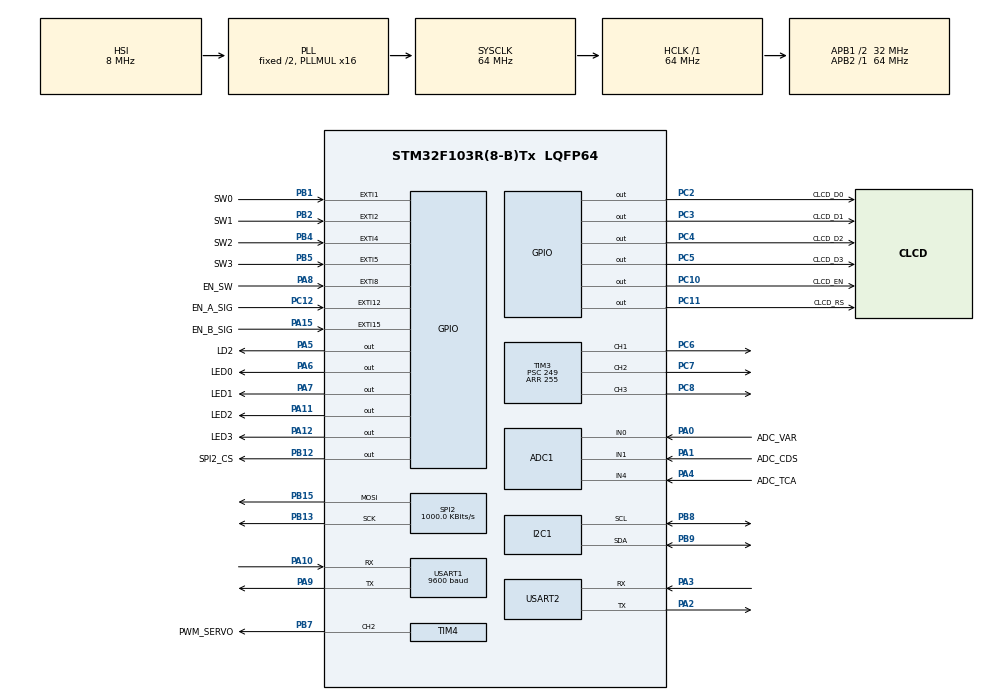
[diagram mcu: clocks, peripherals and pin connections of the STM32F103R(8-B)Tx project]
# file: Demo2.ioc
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Mcu.Family=STM32F1
SPI2.VirtualType=VM_MASTER
ADC1.ContinuousConvMode=ENABLE
PB4.GPIO_ModeDefaultEXTI=GPIO_MODE_IT_RISING_FALLING
USART1.BaudRate=9600
PC10.Signal=GPIO_Output
PC12.Signal=GPXTI12
PA6.GPIO_Label=LED0
PB13.Signal=SPI2_SCK
PB15.Signal=SPI2_MOSI
RCC.SYSCLKSource=RCC_SYSCLKSOURCE_PLLCLK
ProjectManager.StackSize=0x400
PB2.GPIO_ModeDefaultEXTI=GPIO_MODE_IT_RISING_FALLING
PA15.GPIO_Label=EN_B_SIG
NVIC.EXTI1_IRQn=true\:0\:0\:false\:false\:true\:true\:true
PA12.Signal=GPIO_Output
ADC1.Channel-3\#ChannelRegularConversion=ADC_CHANNEL_4
RCC.HCLKFreq_Value=64000000
RCC.APB2TimFreq_Value=64000000
TIM3.Period=255
PB1.GPIO_ModeDefaultEXTI=GPIO_MODE_IT_RISING_FALLING
Dma.ADC1.0.Direction=DMA_PERIPH_TO_MEMORY
ADC1.Channel-2\#ChannelRegularConversion=ADC_CHANNEL_1
PC7.Signal=S_TIM3_CH2
PC3.Signal=GPIO_Output
Dma.ADC1.0.MemDataAlignment=DMA_MDATAALIGN_HALFWORD
RCC.AHBFreq_Value=64000000
SPI2.BaudRatePrescaler=SPI_BAUDRATEPRESCALER_32
TIM3.Channel-PWM\ Generation1\ CH1=TIM_CHANNEL_1
NVIC.EXTI15_10_IRQn=true\:0\:0\:false\:false\:true\:true\:true
PB2.Signal=GPXTI2
RCC.PLLMUL=RCC_PLL_MUL16
PB12.GPIO_Label=SPI2_CS
ADC1.Rank-2\#ChannelRegularConversion=2
PC4.GPIO_Label=CLCD_D2
PA14.Mode=Serial_Wire
TIM3.Prescaler=249
PB1.GPIO_Label=SW0
Dma.ADC1.0.PeriphInc=DMA_PINC_DISABLE
PC11.GPIO_Label=CLCD_RS
NVIC.TIM2_IRQn=true\:0\:0\:false\:false\:true\:true\:true
SPI2.CalculateBaudRate=1000.0 KBits/s
SH.S_TIM4_CH2.0=TIM4_CH2,PWM Generation2 CH2
PB7.Signal=S_TIM4_CH2
PA8.Signal=GPXTI8
SH.ADCx_IN0.0=ADC1_IN0,IN0
SH.S_TIM3_CH1.0=TIM3_CH1,PWM Generation1 CH1
TIM4.Period=19999
PB7.GPIO_Label=PWM_SERVO
Mcu.Package=LQFP64
PB9.Signal=I2C1_SDA
TIM2.Prescaler=63
PB1.Signal=GPXTI1
PA6.Signal=GPIO_Output
SPI2.Mode=SPI_MODE_MASTER
PA8.GPIO_ModeDefaultEXTI=GPIO_MODE_IT_FALLING
USART2.VirtualMode=VM_ASYNC
PA10.Signal=USART1_RX
PA15.Signal=GPXTI15
SPI2.CLKPhase=SPI_PHASE_2EDGE
SH.ADCx_IN1.0=ADC1_IN1,IN1
PB5.GPIO_Label=SW3
NVIC.EXTI2_IRQn=true\:0\:0\:false\:false\:true\:true\:true
RCC.APB1TimFreq_Value=64000000
SPI2.Direction=SPI_DIRECTION_2LINES
PC5.Signal=GPIO_Output
PB13.Mode=TX_Only_Simplex_Unidirect_Master
NVIC.USART1_IRQn=true\:0\:0\:false\:false\:true\:true\:false
Dma.Request0=ADC1
PA4.GPIO_Label=ADC_TCA
PC2.GPIO_Label=CLCD_D0
TIM4.Pulse-PWM\ Generation2\ CH2=1500
VP_TIM3_VS_ClockSourceINT.Mode=Internal
PB4.Signal=GPXTI4
PA3.Signal=USART2_RX
PB5.GPIO_ModeDefaultEXTI=GPIO_MODE_IT_RISING_FALLING
NVIC.EXTI4_IRQn=true\:0\:0\:false\:false\:true\:true\:true
Dma.ADC1.0.Instance=DMA1_Channel1
PA10.Mode=Asynchronous
PC10.GPIO_Label=CLCD_EN
TIM3.AutoReloadPreload=TIM_AUTORELOAD_PRELOAD_DISABLE
PC11.Signal=GPIO_Output
PC8.Signal=S_TIM3_CH3
PC2.Signal=GPIO_Output
PC4.Signal=GPIO_Output
PC6.Signal=S_TIM3_CH1
PA11.GPIO_Label=LED2
RCC.APB1CLKDivider=RCC_HCLK_DIV2
SH.S_TIM3_CH3.0=TIM3_CH3,PWM Generation3 CH3
PA12.GPIO_Label=LED3
ADC1.SamplingTime-2\#ChannelRegularConversion=ADC_SAMPLETIME_239CYCLES_5
PA0-WKUP.GPIO_Label=ADC_VAR
PA0-WKUP.Signal=ADCx_IN0
RCC.ADCPresc=RCC_ADCPCLK2_DIV8
PA3.Mode=Asynchronous
PA13.Signal=SYS_JTMS-SWDIO
TIM3.Channel-PWM\ Generation3\ CH3=TIM_CHANNEL_3
Dma.ADC1.0.PeriphDataAlignment=DMA_PDATAALIGN_HALFWORD
PA9.Mode=Asynchronous
PA8.GPIO_Label=EN_SW
ProjectManager.TargetToolchain=STM32CubeIDE
Dma.ADC1.0.Mode=DMA_CIRCULAR
I2C1.I2C_Mode=I2C_Fast
PB9.Mode=I2C
Dma.ADC1.0.Priority=DMA_PRIORITY_LOW
PA9.Signal=USART1_TX
ADC1.Channel-1\#ChannelRegularConversion=ADC_CHANNEL_0
RCC.USBFreq_Value=64000000
TIM4.Prescaler=63
PA1.Signal=ADCx_IN1
PA5.Signal=GPIO_Output
SH.S_TIM3_CH2.0=TIM3_CH2,PWM Generation2 CH2
board=custom
PB15.Mode=TX_Only_Simplex_Unidirect_Master
TIM4.Channel-PWM\ Generation2\ CH2=TIM_CHANNEL_2
RCC.APB2Freq_Value=64000000
PB4.GPIO_Label=SW2
VP_TIM2_VS_ClockSourceINT.Mode=Internal
PA1.GPIO_Label=ADC_CDS
SH.ADCx_IN4.0=ADC1_IN4,IN4
TIM2.Period=49999
ADC1.NbrOfConversion=3
PA13.Mode=Serial_Wire
Mcu.Name=STM32F103R(8-B)Tx
PA2.Signal=USART2_TX
TIM4.OCPolarity_2=TIM_OCPOLARITY_LOW
PA4.Signal=ADCx_IN4
ADC1.SamplingTime-1\#ChannelRegularConversion=ADC_SAMPLETIME_239CYCLES_5
RCC.SYSCLKFreq_VALUE=64000000
PB5.Signal=GPXTI5
PA7.GPIO_Label=LED1
ADC1.master=1
PA5.GPIO_Label=LD2
ADC1.Rank-3\#ChannelRegularConversion=3
ADC1.SamplingTime-3\#ChannelRegularConversion=ADC_SAMPLETIME_239CYCLES_5
PC5.GPIO_Label=CLCD_D3
PC12.GPIO_Label=EN_A_SIG
USART1.VirtualMode=VM_ASYNC
ADC1.Rank-1\#ChannelRegularConversion=1
PA11.Signal=GPIO_Output
NVIC.EXTI9_5_IRQn=true\:0\:0\:false\:false\:true\:true\:true
PA14.Signal=SYS_JTCK-SWCLK
Dma.ADC1.0.MemInc=DMA_MINC_ENABLE
PB2.GPIO_Label=SW1
ProjectManager.HeapSize=0x200
VP_TIM4_VS_ClockSourceINT.Mode=Internal
NVIC.PriorityGroup=NVIC_PRIORITYGROUP_4
ADC1.NbrOfConversionFlag=1
TIM3.Channel-PWM\ Generation2\ CH2=TIM_CHANNEL_2
PB8.Mode=I2C
PA2.Mode=Asynchronous
PB8.Signal=I2C1_SCL
TIM2.AutoReloadPreload=TIM_AUTORELOAD_PRELOAD_ENABLE
PC3.GPIO_Label=CLCD_D1
NVIC.DMA1_Channel1_IRQn=true\:0\:0\:false\:false\:true\:false\:true
RCC.APB1Freq_Value=32000000
PB12.Signal=GPIO_Output
PA7.Signal=GPIO_Output

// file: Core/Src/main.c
/* USER CODE BEGIN Header */
/**
  ******************************************************************************
  * @file           : main.c
  * @brief          : Main program body
  ******************************************************************************
  * @attention
  *
  * <h2><center>&copy; Copyright (c) 2020 STMicroelectronics.
  * All rights reserved.</center></h2>
  *
  * This software component is licensed by ST under BSD 3-Clause license,
  * the "License"; You may not use this file except in compliance with the
  * License. You may obtain a copy of the License at:
  *                        opensource.org/licenses/BSD-3-Clause
  *
  ******************************************************************************
  */
/* USER CODE END Header */

#include "main.h"

/* USER CODE BEGIN Includes */
#include <stdio.h>  // for using printf()
#include <string.h> // for using memset(), strlen(), strcmp, strtok()
#include "hdc1080\hdc1080.h"  // for using hdc1080 through I2C
#include "clcd\clcd.h"  // for using clcd library
#include "ringbuffer\rb.h"  // for using ring buffer
/* USER CODE END Includes */

/* USER CODE BEGIN PD */
// Demo2 protocol command define
#define STX       0x02
#define ETX       0x03

#define VAR         'V'
#define CDS         'P'
#define TC1047     'T'
#define ENCODER     'E'
#define SERVO       'S'
#define HDC1080     'I'
#define DAC         'D'
#define LED         'L'
#define RGBLED      'M'
#define TACTSWITCH  'R'
#define CLCD_L1     '1'
#define CLCD_L2     '2'

#define CMD_READ  0x52
#define CMD_WRITE 0x57

// receive packet wait time
#define TIMEOUT  1000
/* USER CODE END PD */

ADC_HandleTypeDef hadc1;
DMA_HandleTypeDef hdma_adc1;

I2C_HandleTypeDef hi2c1;

SPI_HandleTypeDef hspi2;

TIM_HandleTypeDef htim2;
TIM_HandleTypeDef htim3;
TIM_HandleTypeDef htim4;

UART_HandleTypeDef huart1;
UART_HandleTypeDef huart2;

/* USER CODE BEGIN PV */
RingFifo_t gUart1Fifo;
volatile int gEnCoderCnt;
volatile uint16_t gADCxConvertedValue[3];
volatile uint8_t gRGBPulse[3];
int gTimerFlag;
/* USER CODE END PV */

void SystemClock_Config(void);
static void MX_GPIO_Init(void);
static void MX_DMA_Init(void);
static void MX_ADC1_Init(void);
static void MX_I2C1_Init(void);
static void MX_SPI2_Init(void);
static void MX_TIM3_Init(void);
static void MX_TIM4_Init(void);
static void MX_USART2_UART_Init(void);
static void MX_USART1_UART_Init(void);
static void MX_TIM2_Init(void);

/* USER CODE BEGIN 0 */
/* Porting to UART2 for serial debugging */
#ifdef __GNUC__
/* With GCC, small printf (option LD Linker->Libraries->Small printf
   set to 'Yes') calls __io_putchar() */
#define PUTCHAR_PROTOTYPE int __io_putchar(int ch)
#else
#define PUTCHAR_PROTOTYPE int fputc(int ch, FILE *f)
#endif /* __GNUC__ */

/**
  * @brief  Retargets the C library printf function to the USART.
  * @param  None
  * @retval None
  */
PUTCHAR_PROTOTYPE
{
  /* Place your implementation of fputc here */
  /* e.g. write a character to the USART1 and Loop until the end of transmission */
  if (ch == '\n')
    HAL_UART_Transmit (&huart2, (uint8_t*) "\r", 1, 0xFFFF);
  HAL_UART_Transmit (&huart2, (uint8_t*) &ch, 1, 0xFFFF);

  return ch;
}

/**
 * @brief   DAC7512 Write through SPI
 * @param   data   unsigned short data for send through SPI
 * @retval  0 is success to send the data, 1 is fail
 */
uint8_t
DAC7512_write (unsigned short data)
{
  uint8_t buff[2], ret;

  HAL_GPIO_WritePin (SPI2_CS_GPIO_Port, SPI2_CS_Pin, GPIO_PIN_RESET);

  buff[0] = (uint8_t) (data >> 8);
  buff[1] = (uint8_t) data;

  ret = HAL_SPI_Transmit (&hspi2, buff, 2, 1000);

  if (ret)
    return ret;

  HAL_GPIO_WritePin (SPI2_CS_GPIO_Port, SPI2_CS_Pin, GPIO_PIN_SET);

  return 0;
}

/**
 * @brief   Block until Ring buffer received packet or timeout occurs
 * @param   timeout   timeout[ms]
 * @retval  0 is Ring buffer received packet, 1 is timeout occurs
 */
int
WaitPacket (int timeout)
{
  if (!RB_isempty (&gUart1Fifo))
    return 0;
  else
    {
      int cnt = 0;
      while (cnt != timeout)
        {
          if (!RB_isempty (&gUart1Fifo))
            break;
          cnt++;
          HAL_Delay (1);
        }

      if (cnt != timeout)
        return 0;
      else
        return 1;
    }
}

/**
 * @brief   Send AT Command to HM-10
 * @param   command   AT Command.
 * @param   buf       Buffer to store HM-10's reply message.
 * @param   bufsize   Buffer size.
 * @param   timeout   UART Transmit and Receive timeout.
 * @retval  0 is success, else is HAL_Status error in UART.
 */
int
SendATCommand (const char *command, char *buf, int bufsize, int timeout)
{
  int ret;

  memset ((void*) buf, 0, bufsize);

  ret = HAL_UART_Transmit (&huart1, (uint8_t*) command, strlen (command), timeout);
  if (ret != HAL_OK)
    return ret;

  ret = HAL_UART_Receive (&huart1, (uint8_t*) buf, bufsize, timeout);
  if (ret != HAL_OK)
    return ret;

  return 0;
}

/**
 * @brief   Initialize HM-10
 * @param   None
 * @retval  None
 */
void
InitHM10 (void)
{
  char rcvBuf[32] =
    { 0 };
  char *ptr;
  int cnt = 0;

  printf ("Initialize HM-10\n");

  __HAL_UART_DISABLE_IT(&huart1, UART_IT_RXNE); // Disable UART1 Interrupt

  printf ("HM-10 Connecting. .");
  fflush(stdout);
  while (cnt++ < 10)
    {
      // Check whether AT commands can be used. If it can use, receive message "OK"
      SendATCommand ("AT", rcvBuf, sizeof(rcvBuf), 500);

      if (!strcmp (rcvBuf, "OK"))
        {
          printf ("\nHM-10-> %s\n", rcvBuf);
          printf ("HM-10 can use AT Command!\n\n");
          break;
        }
      printf (" .");
      fflush(stdout);

      HAL_Delay (1000);
    }

  if (cnt >= 10)
    {
      printf ("HM-10 connecting fail!\n");
      return;
    }

  SendATCommand ("AT+NAME?", rcvBuf, sizeof(rcvBuf), 100);

  // if Name is not NUCLEOEVB, Restore all setup value to factory setup and rename to NUCLEOEVB
  if (strcmp (rcvBuf, "OK+NAME:NUCLEOEVB"))
    {
      printf ("Restore all setup and rename to \"NUCLEOEVB\".\n");

      /*  default setting
       *  Name: HMSoft
       *  Baud: 9600, N, 8, 1
       *  Pin code: 000000
       *  Peripheral(Slave) Role
       *  Transmit mode(Can configure parameters until module is connected)
       */
      SendATCommand ("AT+RENEW", rcvBuf, sizeof(rcvBuf), 1000);
      printf ("AT Renew: %s\n", rcvBuf);
      HAL_Delay(1000);

      // set Name NUCLEOEVB
      SendATCommand ("AT+NAMENUCLEOEVB", rcvBuf, sizeof(rcvBuf), 100);

      // HM-10's SW reset to apply the changed settings
      SendATCommand ("AT+RESET", rcvBuf, sizeof(rcvBuf), 500);
      printf ("AT Reset: %s\n", rcvBuf);
      HAL_Delay(1000);
    }

  printf ("Show HM-10 settings\n");

  // get addr
  SendATCommand ("AT+ADDR?", rcvBuf, sizeof(rcvBuf), 100);
  ptr = strtok (rcvBuf, ":");
  ptr = strtok (NULL, ":");
  printf (" Addr: %s\n", ptr);

  // get name
  SendATCommand ("AT+NAME?", rcvBuf, sizeof(rcvBuf), 100);
  ptr = strtok (rcvBuf, ":");
  ptr = strtok (NULL, ":");
  printf (" Name: %s\n", ptr);

  // get pass(pin code)
  SendATCommand ("AT+PASS?", rcvBuf, sizeof(rcvBuf), 100);
  ptr = strtok (rcvBuf, ":");
  ptr = strtok (NULL, ":");
  printf (" PW(pin): %s\n", ptr);

  // get type(type0: Not need PIN Code)
  SendATCommand ("AT+TYPE?", rcvBuf, sizeof(rcvBuf), 100);
  ptr = strtok (rcvBuf, ":");
  ptr = strtok (NULL, ":");
  printf (" Type: %s\n", ptr);

  __HAL_UART_ENABLE_IT(&huart1, UART_IT_RXNE);  // Enable UART1 Interrupt
}
/* USER CODE END 0 */

int main(void)
{
  /* USER CODE BEGIN 1 */
  uint8_t bat_stat;
  uint16_t I2C_id;
  /* USER CODE END 1 */

  /* MCU Configuration--------------------------------------------------------*/

  /* Reset of all peripherals, Initializes the Flash interface and the Systick. */
  HAL_Init();

  /* Configure the system clock */
  SystemClock_Config();

  /* Initialize all configured peripherals */
  MX_GPIO_Init();
  MX_DMA_Init();
  MX_ADC1_Init();
  MX_I2C1_Init();
  MX_SPI2_Init();
  MX_TIM3_Init();
  MX_TIM4_Init();
  MX_USART2_UART_Init();
  MX_USART1_UART_Init();
  MX_TIM2_Init();
  /* USER CODE BEGIN 2 */
  printf("Application Demo2\n\n");

  /* Start ADC Calibration */
  if (HAL_ADCEx_Calibration_Start (&hadc1) != HAL_OK)
    {
      Error_Handler ();
    }
  printf ("ADC Calibration Done!\n");

  /* Start ADC in DMA mode,
   *
   * ADC Rank1 - VAR,
   *     Rank2 - CDS,
   *     Rank3 - TC1047
   */
  if (HAL_ADC_Start_DMA (&hadc1, (uint32_t*) &gADCxConvertedValue, 3) != HAL_OK)
    {
      Error_Handler ();
    }
  printf ("Start ADC in DMA Mode\n");

  /* Init HDC1080 */
  // HDC1080 id read to I2C
  HAL_Delay(50);
  hdc1080_read_reg (&hi2c1, HDC1080_ID_DEV, &I2C_id);
  hdc1080_init (&hi2c1, HDC1080_T_RES_14, HDC1080_RH_RES_14, 1, &bat_stat);
  printf ("I2C Initialization Done!");
  printf ("HDC1080's ID = %X\n", I2C_id);

  /* TIM4 PWM start for Servo */
  HAL_TIM_PWM_Start (&htim4, TIM_CHANNEL_2);

  /* TIM3 PWM start for RGB LED */
  HAL_TIM_PWM_Start (&htim3, TIM_CHANNEL_1);
  HAL_TIM_PWM_Start (&htim3, TIM_CHANNEL_2);
  HAL_TIM_PWM_Start (&htim3, TIM_CHANNEL_3);
  printf ("Start PWM for Servo & RGB LED\n");

  /* Init LCD */
  CLCD_Init (16, 2);
  printf ("CLCD Initialization Done!\n");

  /* Init RingBuffer */
  if (RB_init (&gUart1Fifo, 64))
    {
      Error_Handler ();
    }

  /* Init Bluetooth(HM-10) */
  InitHM10 ();

  /* Start TIM2 Interrupt (50msec) */
  HAL_TIM_Base_Start_IT (&htim2);

  printf ("\nMain program start!\n");
  /* USER CODE END 2 */

  /* Infinite loop */
  /* USER CODE BEGIN WHILE */
  int send_idx = 0, read_idx = 0;
  int i, rb_flag = 0;
  uint8_t ch;
  uint8_t hdc_humi;
  int led_value, switch_value;
  float hdc_temp;
  char rcvbuf[21] = { 0 };
  char clcd[17] = { 0 };

  while (1)
  {
      /***********************************************************************************************/
      /************************************* Data Acquisition ****************************************/
      /***********************************************************************************************/
      hdc1080_measure (&hi2c1, &hdc_temp, &hdc_humi);
      led_value = (HAL_GPIO_ReadPin (LED0_GPIO_Port, LED0_Pin) << 24) | (HAL_GPIO_ReadPin (LED1_GPIO_Port, LED1_Pin) << 16)
          | (HAL_GPIO_ReadPin (LED2_GPIO_Port, LED2_Pin) << 8) | HAL_GPIO_ReadPin (LED3_GPIO_Port, LED3_Pin);

      switch_value = ((!HAL_GPIO_ReadPin (SW0_GPIO_Port, SW0_Pin)) << 24) | ((!HAL_GPIO_ReadPin (SW1_GPIO_Port, SW1_Pin)) << 16)
          | ((!HAL_GPIO_ReadPin (SW2_GPIO_Port, SW2_Pin)) << 8) | (!HAL_GPIO_ReadPin (SW3_GPIO_Port, SW3_Pin));

      /***********************************************************************************************/
      /*********************************** Data Send Routine *****************************************/
      /***********************************************************************************************/
#if 1
      // Check timer flag
      if (gTimerFlag == 1)
        {
          gTimerFlag = 0;

          uint8_t sendBuf[10] = { 0 };
          int index = 0;

          // send packet
          switch (send_idx)
            {
            case 0: // VAR data packet
              send_idx++;
              uint16_t var_val = gADCxConvertedValue[0];

              sendBuf[index++] = STX;
              sendBuf[index++] = CMD_READ;
              sendBuf[index++] = VAR;
              sendBuf[index++] = 2;
              sendBuf[index++] = var_val;
              sendBuf[index++] = var_val >> 8;
              sendBuf[index++] = ETX;

              HAL_UART_Transmit (&huart1, sendBuf, index, 50);
              //printf ("Sequence%d - VAR: %d\n", send_idx, var_val);
              break;

            case 1: // CDS data packet
              send_idx++;
              uint16_t cds_val = gADCxConvertedValue[1];

              sendBuf[index++] = STX;
              sendBuf[index++] = CMD_READ;
              sendBuf[index++] = CDS;
              sendBuf[index++] = 2;
              sendBuf[index++] = cds_val;
              sendBuf[index++] = cds_val >> 8;
              sendBuf[index++] = ETX;

              HAL_UART_Transmit (&huart1, sendBuf, index, 50);
              //printf ("Sequence%d - CDS: %d\n", send_idx, cds_val);
              break;

            case 2: // TC1047 data packet
              send_idx++;
              float tc_temp = (float) (((gADCxConvertedValue[2] * 3.3 / 4096 * 1000) - 500) / 10);
              uint32_t temp = *(uint32_t*) &tc_temp;

              sendBuf[index++] = STX;
              sendBuf[index++] = CMD_READ;
              sendBuf[index++] = TC1047;
              sendBuf[index++] = 4;
              sendBuf[index++] = temp;
              sendBuf[index++] = temp >> 8;
              sendBuf[index++] = temp >> 16;
              sendBuf[index++] = temp >> 24;
              sendBuf[index++] = ETX;

              HAL_UART_Transmit (&huart1, sendBuf, index, 50);
              //printf ("Sequence%d - TC1047: %.2f\n", send_idx, *(float *)&temp);
              break;

            case 3: // Encoder data packet
              send_idx++;
              int encoder_temp = gEnCoderCnt;

              sendBuf[index++] = STX;
              sendBuf[index++] = CMD_READ;
              sendBuf[index++] = ENCODER;
              sendBuf[index++] = 4;
              sendBuf[index++] = encoder_temp;
              sendBuf[index++] = encoder_temp >> 8;
              sendBuf[index++] = encoder_temp >> 16;
              sendBuf[index++] = encoder_temp >> 24;
              sendBuf[index++] = ETX;

              HAL_UART_Transmit (&huart1, sendBuf, index, 50);
              //printf ("Sequence%d - Encoder: %4d\n", send_idx, encoder_temp);
              break;

            case 4: // HDC1080 data packet
              send_idx++;
              uint32_t _hdc_temp = *(uint32_t*) &hdc_temp;
              uint8_t _hdc_humi = hdc_humi;

              sendBuf[index++] = STX;
              sendBuf[index++] = CMD_READ;
              sendBuf[index++] = HDC1080;
              sendBuf[index++] = 5;
              sendBuf[index++] = _hdc_temp;
              sendBuf[index++] = _hdc_temp >> 8;
              sendBuf[index++] = _hdc_temp >> 16;
              sendBuf[index++] = _hdc_temp >> 24;
              sendBuf[index++] = _hdc_humi;
              sendBuf[index++] = ETX;

              HAL_UART_Transmit (&huart1, sendBuf, index, 50);
              //printf ("Sequence%d - HDC1080: %.2f, %d\n", send_idx, *(float *)&hdc_temp, hdc_humi);
              break;

            case 5: // LED data packet
              send_idx++;
              int led_temp = led_value;

              sendBuf[index++] = STX;
              sendBuf[index++] = CMD_READ;
              sendBuf[index++] = LED;
              sendBuf[index++] = 4;
              sendBuf[index++] = led_temp;
              sendBuf[index++] = led_temp >> 8;
              sendBuf[index++] = led_temp >> 16;
              sendBuf[index++] = led_temp >> 24;
              sendBuf[index++] = ETX;

              HAL_UART_Transmit (&huart1, sendBuf, index, 50);
              //printf ("Sequence%d - LED: %08x\n", send_idx, led_temp);
              break;

            case 6: // RGB LED data packet
              send_idx++;

              sendBuf[index++] = STX;
              sendBuf[index++] = CMD_READ;
              sendBuf[index++] = RGBLED;
              sendBuf[index++] = 4;
              sendBuf[index++] = gRGBPulse[0];
              sendBuf[index++] = gRGBPulse[1];
              sendBuf[index++] = gRGBPulse[2];
              sendBuf[index++] = ETX;

              HAL_UART_Transmit (&huart1, sendBuf, index, 50);
              //printf ("Sequence%d - RGB: %3d, %3d, %3d\n", send_idx, gRGBPulse[0], gRGBPulse[1], gRGBPulse[2]);
              break;

            case 7: // Tact Switch data packet
              send_idx++;
              int sw_temp = switch_value;

              sendBuf[index++] = STX;
              sendBuf[index++] = CMD_READ;
              sendBuf[index++] = TACTSWITCH;
              sendBuf[index++] = 4;
              sendBuf[index++] = sw_temp;
              sendBuf[index++] = sw_temp >> 8;
              sendBuf[index++] = sw_temp >> 16;
              sendBuf[index++] = sw_temp >> 24;
              sendBuf[index++] = ETX;

              HAL_UART_Transmit (&huart1, sendBuf, index, 50);
              //printf ("Sequence%d - Switch: %08x\n\n", send_idx, sw_temp);
              send_idx = 0;
              break;

            default:
              Error_Handler ();
              break;
            }
        }
#endif

      /***********************************************************************************************/
      /*********************************** Data Receive Routine **************************************/
      /***********************************************************************************************/
      // Check ring buffer
      if (!RB_isempty (&gUart1Fifo))
        {
          ch = RB_read (&gUart1Fifo);
#if 1
          // Check STX
          if (ch == STX)
            {
              memset ((void*) rcvbuf, 0, sizeof(rcvbuf));
              read_idx = 0;
              HAL_Delay (30);

              rcvbuf[read_idx++] = ch;

              // Read CMD, DEVICE, DATASIZE
              for (i = 0; i < 3; i++)
                {
                  if (!WaitPacket (TIMEOUT))
                    rcvbuf[read_idx++] = RB_read (&gUart1Fifo);
                  else
                    {
                      rb_flag = 1;
                      break;
                    }
                }

              if (rb_flag)
                {
                  printf ("Packet receive fail!\n");
                  for (i = 0; i < read_idx; i++)
                    printf ("%02x ", rcvbuf[i]);
                  printf ("\n\n");
                  read_idx = 0;
                  rb_flag = 0;
                  continue;
                }

              // Read DATA, ETX
              for (i = 0; i < rcvbuf[3] + 1; i++)
                {
                  if (!WaitPacket (TIMEOUT))
                    rcvbuf[read_idx++] = RB_read (&gUart1Fifo);
                  else
                    {
                      rb_flag = 1;
                      break;
                    }
                }

              if (rb_flag)
                {
                  printf ("Packet receive fail: ");
                  for (i = 0; i < read_idx; i++)
                    printf ("%02x ", rcvbuf[i]);
                  printf ("\n\n");
                  read_idx = 0;
                  rb_flag = 0;
                  continue;
                }

              printf ("Packet receive complete: ");
              for (i = 0; i < read_idx; i++)
                printf ("%02x ", rcvbuf[i]);
              printf ("\n\n");

              // DATA processing
              switch (rcvbuf[2])
                {
                case ENCODER:
                  {
                    int encoder_tmp = 0;

                    encoder_tmp |= rcvbuf[4];
                    encoder_tmp |= rcvbuf[5] << 8;
                    encoder_tmp |= rcvbuf[6] << 16;
                    encoder_tmp |= rcvbuf[7] << 24;

                    gEnCoderCnt = encoder_tmp;

                    break;
                  }

                case SERVO:
                  {
                    short servo_tmp = 0;
                    int servo_pulse;

                    servo_tmp |= rcvbuf[4];
                    servo_tmp |= rcvbuf[5] << 8;

                    if (servo_tmp > 90)
                      servo_tmp = 90;
                    else if (servo_tmp < -90)
                      servo_tmp = -90;

                    servo_pulse = ((int) ((servo_tmp + 90) * 1000 / 180)) + 1000;
                    __HAL_TIM_SET_COMPARE(&htim4, TIM_CHANNEL_2, servo_pulse);

                    break;
                  }

                case DAC:
                  {
                    uint16_t dac_tmp = 0;

                    dac_tmp |= rcvbuf[4];
                    dac_tmp |= rcvbuf[5] << 8;

                    DAC7512_write (dac_tmp);

                    break;
                  }

                case LED:
                  {
                    HAL_GPIO_WritePin (LED3_GPIO_Port, LED3_Pin, rcvbuf[4]); // LED3
                    HAL_GPIO_WritePin (LED2_GPIO_Port, LED2_Pin, rcvbuf[5]); // LED2
                    HAL_GPIO_WritePin (LED1_GPIO_Port, LED1_Pin, rcvbuf[6]); // LED1
                    HAL_GPIO_WritePin (LED0_GPIO_Port, LED0_Pin, rcvbuf[7]); // LED0

                    break;
                  }

                case RGBLED:
                  {
                    __HAL_TIM_SET_COMPARE(&htim3, TIM_CHANNEL_1, rcvbuf[4]); // Blue
                    __HAL_TIM_SET_COMPARE(&htim3, TIM_CHANNEL_3, rcvbuf[5]); // Green
                    __HAL_TIM_SET_COMPARE(&htim3, TIM_CHANNEL_2, rcvbuf[6]); // Red

                    break;
                  }

                case CLCD_L1:
                  {
                    int j = 0;
                    for (int i = 19; i >= 4; i--)
                      clcd[j++] = (rcvbuf[i] == 0) ? 0x20 : rcvbuf[i];

                    CLCD_Puts (0, 0, clcd);

                    break;
                  }

                case CLCD_L2:
                  {
                    int j = 0;
                    for (int i = 19; i >= 4; i--)
                      clcd[j++] = (rcvbuf[i] == 0) ? 0x20 : rcvbuf[i];

                    CLCD_Puts (0, 1, clcd);

                    break;
                  }

                default:
                  printf ("Device Type is wrong!\n");
                  break;
                } // DATA processing
            } // Check STX
#endif
        } // Check ring buffer

    /* USER CODE END WHILE */

  }
}

void SystemClock_Config(void)
{
  RCC_OscInitTypeDef RCC_OscInitStruct = {0};
  RCC_ClkInitTypeDef RCC_ClkInitStruct = {0};
  RCC_PeriphCLKInitTypeDef PeriphClkInit = {0};

  /** Initializes the CPU, AHB and APB busses clocks
  */
  RCC_OscInitStruct.OscillatorType = RCC_OSCILLATORTYPE_HSI;
  RCC_OscInitStruct.HSIState = RCC_HSI_ON;
  RCC_OscInitStruct.HSICalibrationValue = RCC_HSICALIBRATION_DEFAULT;
  RCC_OscInitStruct.PLL.PLLState = RCC_PLL_ON;
  RCC_OscInitStruct.PLL.PLLSource = RCC_PLLSOURCE_HSI_DIV2;
  RCC_OscInitStruct.PLL.PLLMUL = RCC_PLL_MUL16;
  if (HAL_RCC_OscConfig(&RCC_OscInitStruct) != HAL_OK)
  {
    Error_Handler();
  }
  /** Initializes the CPU, AHB and APB busses clocks
  */
  RCC_ClkInitStruct.ClockType = RCC_CLOCKTYPE_HCLK|RCC_CLOCKTYPE_SYSCLK
                              |RCC_CLOCKTYPE_PCLK1|RCC_CLOCKTYPE_PCLK2;
  RCC_ClkInitStruct.SYSCLKSource = RCC_SYSCLKSOURCE_PLLCLK;
  RCC_ClkInitStruct.AHBCLKDivider = RCC_SYSCLK_DIV1;
  RCC_ClkInitStruct.APB1CLKDivider = RCC_HCLK_DIV2;
  RCC_ClkInitStruct.APB2CLKDivider = RCC_HCLK_DIV1;

  if (HAL_RCC_ClockConfig(&RCC_ClkInitStruct, FLASH_LATENCY_2) != HAL_OK)
  {
    Error_Handler();
  }
  PeriphClkInit.PeriphClockSelection = RCC_PERIPHCLK_ADC;
  PeriphClkInit.AdcClockSelection = RCC_ADCPCLK2_DIV8;
  if (HAL_RCCEx_PeriphCLKConfig(&PeriphClkInit) != HAL_OK)
  {
    Error_Handler();
  }
}

static void MX_ADC1_Init(void)
{

  ADC_ChannelConfTypeDef sConfig = {0};

  /** Common config
  */
  hadc1.Instance = ADC1;
  hadc1.Init.ScanConvMode = ADC_SCAN_ENABLE;
  hadc1.Init.ContinuousConvMode = ENABLE;
  hadc1.Init.DiscontinuousConvMode = DISABLE;
  hadc1.Init.ExternalTrigConv = ADC_SOFTWARE_START;
  hadc1.Init.DataAlign = ADC_DATAALIGN_RIGHT;
  hadc1.Init.NbrOfConversion = 3;
  if (HAL_ADC_Init(&hadc1) != HAL_OK)
  {
    Error_Handler();
  }
  /** Configure Regular Channel
  */
  sConfig.Channel = ADC_CHANNEL_0;
  sConfig.Rank = ADC_REGULAR_RANK_1;
  sConfig.SamplingTime = ADC_SAMPLETIME_239CYCLES_5;
  if (HAL_ADC_ConfigChannel(&hadc1, &sConfig) != HAL_OK)
  {
    Error_Handler();
  }
  /** Configure Regular Channel
  */
  sConfig.Channel = ADC_CHANNEL_1;
  sConfig.Rank = ADC_REGULAR_RANK_2;
  if (HAL_ADC_ConfigChannel(&hadc1, &sConfig) != HAL_OK)
  {
    Error_Handler();
  }
  /** Configure Regular Channel
  */
  sConfig.Channel = ADC_CHANNEL_4;
  sConfig.Rank = ADC_REGULAR_RANK_3;
  if (HAL_ADC_ConfigChannel(&hadc1, &sConfig) != HAL_OK)
  {
    Error_Handler();
  }

}

static void MX_I2C1_Init(void)
{

  hi2c1.Instance = I2C1;
  hi2c1.Init.ClockSpeed = 400000;
  hi2c1.Init.DutyCycle = I2C_DUTYCYCLE_2;
  hi2c1.Init.OwnAddress1 = 0;
  hi2c1.Init.AddressingMode = I2C_ADDRESSINGMODE_7BIT;
  hi2c1.Init.DualAddressMode = I2C_DUALADDRESS_DISABLE;
  hi2c1.Init.OwnAddress2 = 0;
  hi2c1.Init.GeneralCallMode = I2C_GENERALCALL_DISABLE;
  hi2c1.Init.NoStretchMode = I2C_NOSTRETCH_DISABLE;
  if (HAL_I2C_Init(&hi2c1) != HAL_OK)
  {
    Error_Handler();
  }

}

static void MX_SPI2_Init(void)
{

  /* SPI2 parameter configuration*/
  hspi2.Instance = SPI2;
  hspi2.Init.Mode = SPI_MODE_MASTER;
  hspi2.Init.Direction = SPI_DIRECTION_2LINES;
  hspi2.Init.DataSize = SPI_DATASIZE_8BIT;
  hspi2.Init.CLKPolarity = SPI_POLARITY_LOW;
  hspi2.Init.CLKPhase = SPI_PHASE_2EDGE;
  hspi2.Init.NSS = SPI_NSS_SOFT;
  hspi2.Init.BaudRatePrescaler = SPI_BAUDRATEPRESCALER_32;
  hspi2.Init.FirstBit = SPI_FIRSTBIT_MSB;
  hspi2.Init.TIMode = SPI_TIMODE_DISABLE;
  hspi2.Init.CRCCalculation = SPI_CRCCALCULATION_DISABLE;
  hspi2.Init.CRCPolynomial = 10;
  if (HAL_SPI_Init(&hspi2) != HAL_OK)
  {
    Error_Handler();
  }

}

static void MX_TIM2_Init(void)
{

  TIM_ClockConfigTypeDef sClockSourceConfig = {0};
  TIM_MasterConfigTypeDef sMasterConfig = {0};

  htim2.Instance = TIM2;
  htim2.Init.Prescaler = 63;
  htim2.Init.CounterMode = TIM_COUNTERMODE_UP;
  htim2.Init.Period = 49999;
  htim2.Init.ClockDivision = TIM_CLOCKDIVISION_DIV1;
  htim2.Init.AutoReloadPreload = TIM_AUTORELOAD_PRELOAD_ENABLE;
  if (HAL_TIM_Base_Init(&htim2) != HAL_OK)
  {
    Error_Handler();
  }
  sClockSourceConfig.ClockSource = TIM_CLOCKSOURCE_INTERNAL;
  if (HAL_TIM_ConfigClockSource(&htim2, &sClockSourceConfig) != HAL_OK)
  {
    Error_Handler();
  }
  sMasterConfig.MasterOutputTrigger = TIM_TRGO_RESET;
  sMasterConfig.MasterSlaveMode = TIM_MASTERSLAVEMODE_DISABLE;
  if (HAL_TIMEx_MasterConfigSynchronization(&htim2, &sMasterConfig) != HAL_OK)
  {
    Error_Handler();
  }

}

static void MX_TIM3_Init(void)
{

  TIM_ClockConfigTypeDef sClockSourceConfig = {0};
  TIM_MasterConfigTypeDef sMasterConfig = {0};
  TIM_OC_InitTypeDef sConfigOC = {0};

  htim3.Instance = TIM3;
  htim3.Init.Prescaler = 249;
  htim3.Init.CounterMode = TIM_COUNTERMODE_UP;
  htim3.Init.Period = 255;
  htim3.Init.ClockDivision = TIM_CLOCKDIVISION_DIV1;
  htim3.Init.AutoReloadPreload = TIM_AUTORELOAD_PRELOAD_DISABLE;
  if (HAL_TIM_Base_Init(&htim3) != HAL_OK)
  {
    Error_Handler();
  }
  sClockSourceConfig.ClockSource = TIM_CLOCKSOURCE_INTERNAL;
  if (HAL_TIM_ConfigClockSource(&htim3, &sClockSourceConfig) != HAL_OK)
  {
    Error_Handler();
  }
  if (HAL_TIM_PWM_Init(&htim3) != HAL_OK)
  {
    Error_Handler();
  }
  sMasterConfig.MasterOutputTrigger = TIM_TRGO_RESET;
  sMasterConfig.MasterSlaveMode = TIM_MASTERSLAVEMODE_DISABLE;
  if (HAL_TIMEx_MasterConfigSynchronization(&htim3, &sMasterConfig) != HAL_OK)
  {
    Error_Handler();
  }
  sConfigOC.OCMode = TIM_OCMODE_PWM1;
  sConfigOC.Pulse = 0;
  sConfigOC.OCPolarity = TIM_OCPOLARITY_HIGH;
  sConfigOC.OCFastMode = TIM_OCFAST_DISABLE;
  if (HAL_TIM_PWM_ConfigChannel(&htim3, &sConfigOC, TIM_CHANNEL_1) != HAL_OK)
  {
    Error_Handler();
  }
  if (HAL_TIM_PWM_ConfigChannel(&htim3, &sConfigOC, TIM_CHANNEL_2) != HAL_OK)
  {
    Error_Handler();
  }
  if (HAL_TIM_PWM_ConfigChannel(&htim3, &sConfigOC, TIM_CHANNEL_3) != HAL_OK)
  {
    Error_Handler();
  }
  HAL_TIM_MspPostInit(&htim3);

}

static void MX_TIM4_Init(void)
{

  TIM_ClockConfigTypeDef sClockSourceConfig = {0};
  TIM_MasterConfigTypeDef sMasterConfig = {0};
  TIM_OC_InitTypeDef sConfigOC = {0};

  htim4.Instance = TIM4;
  htim4.Init.Prescaler = 63;
  htim4.Init.CounterMode = TIM_COUNTERMODE_UP;
  htim4.Init.Period = 19999;
  htim4.Init.ClockDivision = TIM_CLOCKDIVISION_DIV1;
  htim4.Init.AutoReloadPreload = TIM_AUTORELOAD_PRELOAD_DISABLE;
  if (HAL_TIM_Base_Init(&htim4) != HAL_OK)
  {
    Error_Handler();
  }
  sClockSourceConfig.ClockSource = TIM_CLOCKSOURCE_INTERNAL;
  if (HAL_TIM_ConfigClockSource(&htim4, &sClockSourceConfig) != HAL_OK)
  {
    Error_Handler();
  }
  if (HAL_TIM_PWM_Init(&htim4) != HAL_OK)
  {
    Error_Handler();
  }
  sMasterConfig.MasterOutputTrigger = TIM_TRGO_RESET;
  sMasterConfig.MasterSlaveMode = TIM_MASTERSLAVEMODE_DISABLE;
  if (HAL_TIMEx_MasterConfigSynchronization(&htim4, &sMasterConfig) != HAL_OK)
  {
    Error_Handler();
  }
  sConfigOC.OCMode = TIM_OCMODE_PWM1;
  sConfigOC.Pulse = 1500;
  sConfigOC.OCPolarity = TIM_OCPOLARITY_LOW;
  sConfigOC.OCFastMode = TIM_OCFAST_DISABLE;
  if (HAL_TIM_PWM_ConfigChannel(&htim4, &sConfigOC, TIM_CHANNEL_2) != HAL_OK)
  {
    Error_Handler();
  }
  HAL_TIM_MspPostInit(&htim4);

}

static void MX_USART1_UART_Init(void)
{

  huart1.Instance = USART1;
  huart1.Init.BaudRate = 9600;
  huart1.Init.WordLength = UART_WORDLENGTH_8B;
  huart1.Init.StopBits = UART_STOPBITS_1;
  huart1.Init.Parity = UART_PARITY_NONE;
  huart1.Init.Mode = UART_MODE_TX_RX;
  huart1.Init.HwFlowCtl = UART_HWCONTROL_NONE;
  huart1.Init.OverSampling = UART_OVERSAMPLING_16;
  if (HAL_UART_Init(&huart1) != HAL_OK)
  {
    Error_Handler();
  }

}

static void MX_USART2_UART_Init(void)
{

  huart2.Instance = USART2;
  huart2.Init.BaudRate = 115200;
  huart2.Init.WordLength = UART_WORDLENGTH_8B;
  huart2.Init.StopBits = UART_STOPBITS_1;
  huart2.Init.Parity = UART_PARITY_NONE;
  huart2.Init.Mode = UART_MODE_TX_RX;
  huart2.Init.HwFlowCtl = UART_HWCONTROL_NONE;
  huart2.Init.OverSampling = UART_OVERSAMPLING_16;
  if (HAL_UART_Init(&huart2) != HAL_OK)
  {
    Error_Handler();
  }

}

static void MX_DMA_Init(void)
{

  /* DMA controller clock enable */
  __HAL_RCC_DMA1_CLK_ENABLE();

  /* DMA interrupt init */
  /* DMA1_Channel1_IRQn interrupt configuration */
  HAL_NVIC_SetPriority(DMA1_Channel1_IRQn, 0, 0);
  HAL_NVIC_EnableIRQ(DMA1_Channel1_IRQn);

}

static void MX_GPIO_Init(void)
{
  GPIO_InitTypeDef GPIO_InitStruct = {0};

  /* GPIO Ports Clock Enable */
  __HAL_RCC_GPIOC_CLK_ENABLE();
  __HAL_RCC_GPIOA_CLK_ENABLE();
  __HAL_RCC_GPIOB_CLK_ENABLE();

  /*Configure GPIO pin Output Level */
  HAL_GPIO_WritePin(GPIOC, CLCD_D0_Pin|CLCD_D1_Pin|CLCD_D2_Pin|CLCD_D3_Pin
                          |CLCD_EN_Pin|CLCD_RS_Pin, GPIO_PIN_RESET);

  /*Configure GPIO pin Output Level */
  HAL_GPIO_WritePin(GPIOA, LD2_Pin|LED0_Pin|LED1_Pin|LED2_Pin
                          |LED3_Pin, GPIO_PIN_RESET);

  /*Configure GPIO pin Output Level */
  HAL_GPIO_WritePin(SPI2_CS_GPIO_Port, SPI2_CS_Pin, GPIO_PIN_RESET);

  /*Configure GPIO pins : CLCD_D0_Pin CLCD_D1_Pin CLCD_D2_Pin CLCD_D3_Pin
                           CLCD_EN_Pin CLCD_RS_Pin */
  GPIO_InitStruct.Pin = CLCD_D0_Pin|CLCD_D1_Pin|CLCD_D2_Pin|CLCD_D3_Pin
                          |CLCD_EN_Pin|CLCD_RS_Pin;
  GPIO_InitStruct.Mode = GPIO_MODE_OUTPUT_PP;
  GPIO_InitStruct.Pull = GPIO_NOPULL;
  GPIO_InitStruct.Speed = GPIO_SPEED_FREQ_LOW;
  HAL_GPIO_Init(GPIOC, &GPIO_InitStruct);

  /*Configure GPIO pins : LD2_Pin LED0_Pin LED1_Pin LED2_Pin
                           LED3_Pin */
  GPIO_InitStruct.Pin = LD2_Pin|LED0_Pin|LED1_Pin|LED2_Pin
                          |LED3_Pin;
  GPIO_InitStruct.Mode = GPIO_MODE_OUTPUT_PP;
  GPIO_InitStruct.Pull = GPIO_NOPULL;
  GPIO_InitStruct.Speed = GPIO_SPEED_FREQ_LOW;
  HAL_GPIO_Init(GPIOA, &GPIO_InitStruct);

  /*Configure GPIO pins : SW0_Pin SW1_Pin SW2_Pin SW3_Pin */
  GPIO_InitStruct.Pin = SW0_Pin|SW1_Pin|SW2_Pin|SW3_Pin;
  GPIO_InitStruct.Mode = GPIO_MODE_IT_RISING_FALLING;
  GPIO_InitStruct.Pull = GPIO_NOPULL;
  HAL_GPIO_Init(GPIOB, &GPIO_InitStruct);

  /*Configure GPIO pin : SPI2_CS_Pin */
  GPIO_InitStruct.Pin = SPI2_CS_Pin;
  GPIO_InitStruct.Mode = GPIO_MODE_OUTPUT_PP;
  GPIO_InitStruct.Pull = GPIO_NOPULL;
  GPIO_InitStruct.Speed = GPIO_SPEED_FREQ_LOW;
  HAL_GPIO_Init(SPI2_CS_GPIO_Port, &GPIO_InitStruct);

  /*Configure GPIO pin : EN_SW_Pin */
  GPIO_InitStruct.Pin = EN_SW_Pin;
  GPIO_InitStruct.Mode = GPIO_MODE_IT_FALLING;
  GPIO_InitStruct.Pull = GPIO_NOPULL;
  HAL_GPIO_Init(EN_SW_GPIO_Port, &GPIO_InitStruct);

  /*Configure GPIO pin : EN_B_SIG_Pin */
  GPIO_InitStruct.Pin = EN_B_SIG_Pin;
  GPIO_InitStruct.Mode = GPIO_MODE_IT_RISING;
  GPIO_InitStruct.Pull = GPIO_NOPULL;
  HAL_GPIO_Init(EN_B_SIG_GPIO_Port, &GPIO_InitStruct);

  /*Configure GPIO pin : EN_A_SIG_Pin */
  GPIO_InitStruct.Pin = EN_A_SIG_Pin;
  GPIO_InitStruct.Mode = GPIO_MODE_IT_RISING;
  GPIO_InitStruct.Pull = GPIO_NOPULL;
  HAL_GPIO_Init(EN_A_SIG_GPIO_Port, &GPIO_InitStruct);

  /* EXTI interrupt init*/
  HAL_NVIC_SetPriority(EXTI1_IRQn, 0, 0);
  HAL_NVIC_EnableIRQ(EXTI1_IRQn);

  HAL_NVIC_SetPriority(EXTI2_IRQn, 0, 0);
  HAL_NVIC_EnableIRQ(EXTI2_IRQn);

  HAL_NVIC_SetPriority(EXTI4_IRQn, 0, 0);
  HAL_NVIC_EnableIRQ(EXTI4_IRQn);

  HAL_NVIC_SetPriority(EXTI9_5_IRQn, 0, 0);
  HAL_NVIC_EnableIRQ(EXTI9_5_IRQn);

  HAL_NVIC_SetPriority(EXTI15_10_IRQn, 0, 0);
  HAL_NVIC_EnableIRQ(EXTI15_10_IRQn);

}

/* USER CODE BEGIN 4 */
void
HAL_TIM_PeriodElapsedCallback (TIM_HandleTypeDef *htim)
{
#if 1
  if (htim->Instance == TIM2)  // 20Hz(50msec) Timer
    {
      gTimerFlag = 1;
    }
#endif
}

void
HAL_UART_RxCpltCallback (UART_HandleTypeDef *UartHandle)
{
  uint8_t rx;

  if (UartHandle->Instance == USART1)
    {
      rx = (uint8_t) (UartHandle->Instance->DR & (uint8_t) 0x00FF);
      RB_write (&gUart1Fifo, rx);
    }

}

void
HAL_GPIO_EXTI_Callback (uint16_t GPIO_Pin)
{
  switch (GPIO_Pin)
    {
    case GPIO_PIN_1:  // SW0 for LED0, if pushed LED ON
      if (HAL_GPIO_ReadPin (SW0_GPIO_Port, SW0_Pin))
        HAL_GPIO_WritePin (LED0_GPIO_Port, LED0_Pin, GPIO_PIN_RESET);
      else
        HAL_GPIO_WritePin (LED0_GPIO_Port, LED0_Pin, GPIO_PIN_SET);
      break;

    case GPIO_PIN_2:  // SW1 for LED1
      if (HAL_GPIO_ReadPin (SW1_GPIO_Port, SW1_Pin))
        HAL_GPIO_WritePin (LED1_GPIO_Port, LED1_Pin, GPIO_PIN_RESET);
      else
        HAL_GPIO_WritePin (LED1_GPIO_Port, LED1_Pin, GPIO_PIN_SET);
      break;

    case GPIO_PIN_4:  // SW2 for LED2
      if (HAL_GPIO_ReadPin (SW2_GPIO_Port, SW2_Pin))
        HAL_GPIO_WritePin (LED2_GPIO_Port, LED2_Pin, GPIO_PIN_RESET);
      else
        HAL_GPIO_WritePin (LED2_GPIO_Port, LED2_Pin, GPIO_PIN_SET);
      break;

    case GPIO_PIN_5:  // SW3 for LED3
      if (HAL_GPIO_ReadPin (SW3_GPIO_Port, SW3_Pin))
        HAL_GPIO_WritePin (LED3_GPIO_Port, LED3_Pin, GPIO_PIN_RESET);
      else
        HAL_GPIO_WritePin (LED3_GPIO_Port, LED3_Pin, GPIO_PIN_SET);
      break;

    case GPIO_PIN_8: // Encoder SW
      gEnCoderCnt = 0;
      break;

    case GPIO_PIN_12: // Encoder A_SIG
      if (!HAL_GPIO_ReadPin (EN_B_SIG_GPIO_Port, EN_B_SIG_Pin))
        gEnCoderCnt++;
      break;

    case GPIO_PIN_15: // Encoder B_SIG
      if (!HAL_GPIO_ReadPin (EN_A_SIG_GPIO_Port, EN_A_SIG_Pin))
        gEnCoderCnt--;
      break;
    }
}
/* USER CODE END 4 */

void Error_Handler(void)
{
}

/************************ (C) COPYRIGHT STMicroelectronics *****END OF FILE****/
